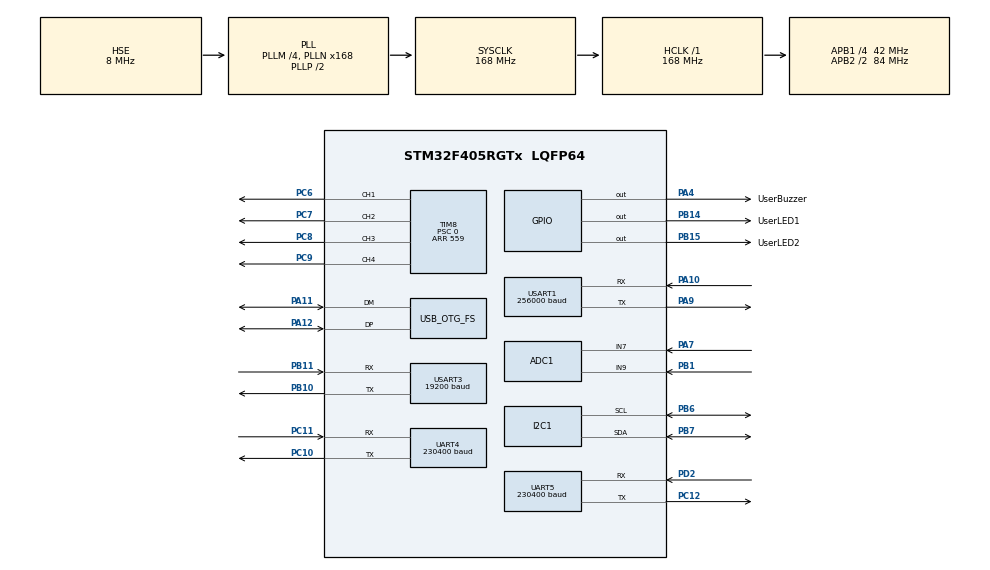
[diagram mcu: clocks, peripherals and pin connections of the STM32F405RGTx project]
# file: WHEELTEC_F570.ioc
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ADC1.Channel-0\#ChannelRegularConversion=ADC_CHANNEL_7
ADC1.Channel-1\#ChannelRegularConversion=ADC_CHANNEL_9
ADC1.ClockPrescaler=ADC_CLOCK_SYNC_PCLK_DIV6
ADC1.ContinuousConvMode=ENABLE
ADC1.DMAContinuousRequests=ENABLE
ADC1.NbrOfConversion=2
ADC1.NbrOfConversionFlag=1
ADC1.Rank-0\#ChannelRegularConversion=1
ADC1.Rank-1\#ChannelRegularConversion=2
ADC1.SamplingTime-0\#ChannelRegularConversion=ADC_SAMPLETIME_480CYCLES
ADC1.SamplingTime-1\#ChannelRegularConversion=ADC_SAMPLETIME_480CYCLES
ADC1.ScanConvMode=ENABLE
ADC1.master=1
Dma.ADC1.4.Direction=DMA_PERIPH_TO_MEMORY
Dma.ADC1.4.FIFOMode=DMA_FIFOMODE_DISABLE
Dma.ADC1.4.Instance=DMA2_Stream0
Dma.ADC1.4.MemDataAlignment=DMA_MDATAALIGN_HALFWORD
Dma.ADC1.4.MemInc=DMA_MINC_ENABLE
Dma.ADC1.4.Mode=DMA_CIRCULAR
Dma.ADC1.4.PeriphDataAlignment=DMA_PDATAALIGN_HALFWORD
Dma.ADC1.4.PeriphInc=DMA_PINC_DISABLE
Dma.ADC1.4.Priority=DMA_PRIORITY_LOW
Dma.Request0=TIM8_CH1
Dma.Request1=TIM8_CH2
Dma.Request2=TIM8_CH3
Dma.Request3=TIM8_CH4/TRIG/COM
Dma.Request4=ADC1
Dma.Request5=UART5_RX
Dma.Request6=UART4_TX
Dma.Request7=USART3_RX
Dma.TIM8_CH1.0.Direction=DMA_MEMORY_TO_PERIPH
Dma.TIM8_CH1.0.FIFOMode=DMA_FIFOMODE_DISABLE
Dma.TIM8_CH1.0.Instance=DMA2_Stream2
Dma.TIM8_CH1.0.MemDataAlignment=DMA_MDATAALIGN_HALFWORD
Dma.TIM8_CH1.0.MemInc=DMA_MINC_ENABLE
Dma.TIM8_CH1.0.Mode=DMA_NORMAL
Dma.TIM8_CH1.0.PeriphDataAlignment=DMA_PDATAALIGN_HALFWORD
Dma.TIM8_CH1.0.PeriphInc=DMA_PINC_DISABLE
Dma.TIM8_CH1.0.Priority=DMA_PRIORITY_LOW
Dma.TIM8_CH2.1.Direction=DMA_MEMORY_TO_PERIPH
Dma.TIM8_CH2.1.FIFOMode=DMA_FIFOMODE_DISABLE
Dma.TIM8_CH2.1.Instance=DMA2_Stream3
Dma.TIM8_CH2.1.MemDataAlignment=DMA_MDATAALIGN_HALFWORD
Dma.TIM8_CH2.1.MemInc=DMA_MINC_ENABLE
Dma.TIM8_CH2.1.Mode=DMA_NORMAL
Dma.TIM8_CH2.1.PeriphDataAlignment=DMA_PDATAALIGN_HALFWORD
Dma.TIM8_CH2.1.PeriphInc=DMA_PINC_DISABLE
Dma.TIM8_CH2.1.Priority=DMA_PRIORITY_LOW
Dma.TIM8_CH3.2.Direction=DMA_MEMORY_TO_PERIPH
Dma.TIM8_CH3.2.FIFOMode=DMA_FIFOMODE_DISABLE
Dma.TIM8_CH3.2.Instance=DMA2_Stream4
Dma.TIM8_CH3.2.MemDataAlignment=DMA_MDATAALIGN_HALFWORD
Dma.TIM8_CH3.2.MemInc=DMA_MINC_ENABLE
Dma.TIM8_CH3.2.Mode=DMA_NORMAL
Dma.TIM8_CH3.2.PeriphDataAlignment=DMA_PDATAALIGN_HALFWORD
Dma.TIM8_CH3.2.PeriphInc=DMA_PINC_DISABLE
Dma.TIM8_CH3.2.Priority=DMA_PRIORITY_LOW
Dma.TIM8_CH4/TRIG/COM.3.Direction=DMA_MEMORY_TO_PERIPH
Dma.TIM8_CH4/TRIG/COM.3.FIFOMode=DMA_FIFOMODE_DISABLE
Dma.TIM8_CH4/TRIG/COM.3.Instance=DMA2_Stream7
Dma.TIM8_CH4/TRIG/COM.3.MemDataAlignment=DMA_MDATAALIGN_HALFWORD
Dma.TIM8_CH4/TRIG/COM.3.MemInc=DMA_MINC_ENABLE
Dma.TIM8_CH4/TRIG/COM.3.Mode=DMA_NORMAL
Dma.TIM8_CH4/TRIG/COM.3.PeriphDataAlignment=DMA_PDATAALIGN_HALFWORD
Dma.TIM8_CH4/TRIG/COM.3.PeriphInc=DMA_PINC_DISABLE
Dma.TIM8_CH4/TRIG/COM.3.Priority=DMA_PRIORITY_LOW
Dma.UART4_TX.6.Direction=DMA_MEMORY_TO_PERIPH
Dma.UART4_TX.6.FIFOMode=DMA_FIFOMODE_DISABLE
Dma.UART4_TX.6.Instance=DMA1_Stream4
Dma.UART4_TX.6.MemDataAlignment=DMA_MDATAALIGN_BYTE
Dma.UART4_TX.6.MemInc=DMA_MINC_ENABLE
Dma.UART4_TX.6.Mode=DMA_NORMAL
Dma.UART4_TX.6.PeriphDataAlignment=DMA_PDATAALIGN_BYTE
Dma.UART4_TX.6.PeriphInc=DMA_PINC_DISABLE
Dma.UART4_TX.6.Priority=DMA_PRIORITY_LOW
Dma.UART5_RX.5.Direction=DMA_PERIPH_TO_MEMORY
Dma.UART5_RX.5.FIFOMode=DMA_FIFOMODE_DISABLE
Dma.UART5_RX.5.Instance=DMA1_Stream0
Dma.UART5_RX.5.MemDataAlignment=DMA_MDATAALIGN_BYTE
Dma.UART5_RX.5.MemInc=DMA_MINC_ENABLE
Dma.UART5_RX.5.Mode=DMA_NORMAL
Dma.UART5_RX.5.PeriphDataAlignment=DMA_PDATAALIGN_BYTE
Dma.UART5_RX.5.PeriphInc=DMA_PINC_DISABLE
Dma.UART5_RX.5.Priority=DMA_PRIORITY_LOW
Dma.USART3_RX.7.Direction=DMA_PERIPH_TO_MEMORY
Dma.USART3_RX.7.FIFOMode=DMA_FIFOMODE_DISABLE
Dma.USART3_RX.7.Instance=DMA1_Stream1
Dma.USART3_RX.7.MemDataAlignment=DMA_MDATAALIGN_BYTE
Dma.USART3_RX.7.MemInc=DMA_MINC_ENABLE
Dma.USART3_RX.7.Mode=DMA_NORMAL
Dma.USART3_RX.7.PeriphDataAlignment=DMA_PDATAALIGN_BYTE
Dma.USART3_RX.7.PeriphInc=DMA_PINC_DISABLE
Dma.USART3_RX.7.Priority=DMA_PRIORITY_LOW
FREERTOS.Tasks01=defaultTask,32,128,StartDefaultTask,Default,NULL,Dynamic,NULL,NULL
FREERTOS.configCHECK_FOR_STACK_OVERFLOW=2
FREERTOS.configENABLE_FPU=1
FREERTOS.configGENERATE_RUN_TIME_STATS=1
FREERTOS.configTOTAL_HEAP_SIZE=51200
FREERTOS.configUSE_IDLE_HOOK=1
FREERTOS.configUSE_MALLOC_FAILED_HOOK=1
FREERTOS.configUSE_STATS_FORMATTING_FUNCTIONS=1
I2C1.I2C_Mode=I2C_Fast
Mcu.Family=STM32F4
Mcu.Name=STM32F405RGTx
Mcu.Package=LQFP64
NVIC.DMA1_Stream0_IRQn=true\:5\:0\:false\:false\:true\:true\:false\:true\:true
NVIC.DMA1_Stream1_IRQn=true\:5\:0\:false\:false\:true\:true\:false\:true\:true
NVIC.DMA1_Stream4_IRQn=true\:5\:0\:false\:false\:true\:true\:false\:true\:true
NVIC.DMA2_Stream0_IRQn=true\:5\:0\:false\:false\:true\:true\:false\:true\:true
NVIC.DMA2_Stream2_IRQn=true\:5\:0\:false\:false\:true\:true\:false\:true\:true
NVIC.DMA2_Stream3_IRQn=true\:5\:0\:false\:false\:true\:true\:false\:true\:true
NVIC.DMA2_Stream4_IRQn=true\:5\:0\:false\:false\:true\:true\:false\:true\:true
NVIC.DMA2_Stream7_IRQn=true\:5\:0\:false\:false\:true\:true\:false\:true\:true
NVIC.OTG_FS_IRQn=true\:5\:0\:false\:false\:true\:true\:false\:true\:true
NVIC.PriorityGroup=NVIC_PRIORITYGROUP_4
NVIC.TIM7_IRQn=true\:15\:0\:true\:false\:true\:false\:false\:true\:true
NVIC.TimeBase=TIM7_IRQn
NVIC.TimeBaseIP=TIM7
NVIC.UART4_IRQn=true\:5\:0\:false\:false\:true\:true\:true\:true\:true
NVIC.UART5_IRQn=true\:5\:0\:false\:false\:true\:true\:true\:true\:true
NVIC.USART1_IRQn=true\:5\:0\:false\:false\:true\:true\:true\:true\:true
NVIC.USART3_IRQn=true\:5\:0\:false\:false\:true\:true\:true\:true\:true
PA10.Mode=Asynchronous
PA10.Signal=USART1_RX
PA11.Mode=Host_Only
PA11.Signal=USB_OTG_FS_DM
PA12.Mode=Host_Only
PA12.Signal=USB_OTG_FS_DP
PA13.Mode=Serial_Wire
PA13.Signal=SYS_JTMS-SWDIO
PA14.Mode=Serial_Wire
PA14.Signal=SYS_JTCK-SWCLK
PA4.GPIO_Label=UserBuzzer
PA4.PinState=GPIO_PIN_RESET
PA4.Signal=GPIO_Output
PA7.Signal=ADCx_IN7
PA9.Mode=Asynchronous
PA9.Signal=USART1_TX
PB1.Signal=ADCx_IN9
PB10.Mode=Asynchronous
PB10.Signal=USART3_TX
PB11.Mode=Asynchronous
PB11.Signal=USART3_RX
PB14.GPIO_Label=UserLED1
PB14.PinState=GPIO_PIN_SET
PB14.Signal=GPIO_Output
PB15.GPIO_Label=UserLED2
PB15.PinState=GPIO_PIN_SET
PB15.Signal=GPIO_Output
PB6.Mode=I2C
PB6.Signal=I2C1_SCL
PB7.Mode=I2C
PB7.Signal=I2C1_SDA
PC10.Mode=Asynchronous
PC10.Signal=UART4_TX
PC11.Mode=Asynchronous
PC11.Signal=UART4_RX
PC12.Mode=Asynchronous
PC12.Signal=UART5_TX
PC6.Signal=S_TIM8_CH1
PC7.Signal=S_TIM8_CH2
PC8.Signal=S_TIM8_CH3
PC9.Signal=S_TIM8_CH4
PD2.Mode=Asynchronous
PD2.Signal=UART5_RX
PH0-OSC_IN.Mode=HSE-External-Oscillator
PH0-OSC_IN.Signal=RCC_OSC_IN
PH1-OSC_OUT.Mode=HSE-External-Oscillator
PH1-OSC_OUT.Signal=RCC_OSC_OUT
ProjectManager.HeapSize=0x200
ProjectManager.StackSize=0x400
ProjectManager.TargetToolchain=MDK-ARM V5.32
RCC.48MHZClocksFreq_Value=48000000
RCC.AHBFreq_Value=168000000
RCC.APB1CLKDivider=RCC_HCLK_DIV4
RCC.APB1Freq_Value=42000000
RCC.APB1TimFreq_Value=84000000
RCC.APB2CLKDivider=RCC_HCLK_DIV2
RCC.APB2Freq_Value=84000000
RCC.APB2TimFreq_Value=168000000
RCC.CortexFreq_Value=168000000
RCC.HCLKFreq_Value=168000000
RCC.HSE_VALUE=8000000
RCC.HSI_VALUE=16000000
RCC.LSE_VALUE=32768
RCC.PLLM=4
RCC.PLLN=168
RCC.PLLQ=7
RCC.SYSCLKFreq_VALUE=168000000
RCC.SYSCLKSource=RCC_SYSCLKSOURCE_PLLCLK
RCC.VCOOutputFreq_Value=336000000
SH.ADCx_IN7.0=ADC1_IN7,IN7
SH.ADCx_IN9.0=ADC1_IN9,IN9
SH.S_TIM8_CH1.0=TIM8_CH1,PWM Generation1 CH1
SH.S_TIM8_CH2.0=TIM8_CH2,PWM Generation2 CH2
SH.S_TIM8_CH3.0=TIM8_CH3,PWM Generation3 CH3
SH.S_TIM8_CH4.0=TIM8_CH4,PWM Generation4 CH4
TIM6.Prescaler=839
TIM8.Channel-PWM\ Generation1\ CH1=TIM_CHANNEL_1
TIM8.Channel-PWM\ Generation2\ CH2=TIM_CHANNEL_2
TIM8.Channel-PWM\ Generation3\ CH3=TIM_CHANNEL_3
TIM8.Channel-PWM\ Generation4\ CH4=TIM_CHANNEL_4
TIM8.Period=559
TIM8.Prescaler=0
UART4.BaudRate=230400
UART4.VirtualMode=Asynchronous
UART5.BaudRate=230400
UART5.VirtualMode=Asynchronous
USART1.BaudRate=256000
USART1.VirtualMode=VM_ASYNC
USART3.BaudRate=19200
USART3.VirtualMode=VM_ASYNC
USB_HOST.SW_VBUS_DRIVE_HID_FS=true
USB_HOST.USBH_DEBUG_LEVEL-HID_FS=0
USB_HOST.USBH_HandleTypeDef-HID_FS=hUsbHostFS
USB_HOST.USBH_MAX_DATA_BUFFER-HID_FS=1024
USB_HOST.USBH_MAX_NUM_SUPPORTED_CLASS-HID_FS=2
USB_HOST.USBH_PROCESS_STACK_SIZE-HID_FS=1024
USB_HOST.VirtualModeFS=Hid
USB_OTG_FS.VirtualMode=Host_Only
USB_OTG_FS.phy_itface=HCD_PHY_EMBEDDED
VP_FREERTOS_VS_CMSIS_V2.Mode=CMSIS_V2
VP_SYS_VS_tim7.Mode=TIM7
VP_TIM6_VS_ClockSourceINT.Mode=Enable_Timer
VP_TIM8_VS_ClockSourceINT.Mode=Internal
VP_USB_HOST_VS_USB_HOST_HID_FS.Mode=HID_FS
board=custom

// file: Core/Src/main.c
/* USER CODE BEGIN Header */
/**
  ******************************************************************************
  * @file           : main.c
  * @brief          : Main program body
  ******************************************************************************
  * @attention
  *
  * Copyright (c) 2025 STMicroelectronics.
  * All rights reserved.
  *
  * This software is licensed under terms that can be found in the LICENSE file
  * in the root directory of this software component.
  * If no LICENSE file comes with this software, it is provided AS-IS.
  *
  ******************************************************************************
  */
/* USER CODE END Header */
#include "main.h"
#include "cmsis_os.h"
#include "adc.h"
#include "dma.h"
#include "i2c.h"
#include "tim.h"
#include "usart.h"
#include "usb_host.h"
#include "gpio.h"

/* USER CODE BEGIN Includes */
#include <stdio.h>

#include "bsp_imu.h"
#include "bsp_adc.h"
#include "bsp_LC307.h"
/* USER CODE END Includes */

/* USER CODE BEGIN PTD */
uint8_t uart4_recv;
uint8_t uart1_recv;

/* USER CODE END PTD */

void SystemClock_Config(void);
void MX_FREERTOS_Init(void);

int main(void)
{

  /* MCU Configuration--------------------------------------------------------*/

  /* Reset of all peripherals, Initializes the Flash interface and the Systick. */
  HAL_Init();

  /* Configure the system clock */
  SystemClock_Config();

  /* Initialize all configured peripherals */
  MX_GPIO_Init();
  MX_DMA_Init();
  MX_USART1_UART_Init();
  MX_UART4_Init();
  MX_USART3_UART_Init();
  MX_UART5_Init();
  MX_TIM6_Init();
  MX_TIM8_Init();
  MX_ADC1_Init();
  MX_I2C1_Init();
  /* USER CODE BEGIN 2 */

	//����1��TypeC���Խӿڣ�������4(�������Խӿ�)
	HAL_UART_Receive_IT(&huart1,&uart1_recv,1);
	HAL_UART_Receive_IT(&huart4,&uart4_recv,1);

	//验证iic与icm20948是否成功建立通讯
//	uint8_t iic_recv=0xff;
//	HAL_I2C_Mem_Read(&hi2c1,0x68<<1,0x00,I2C_MEMADD_SIZE_8BIT,&iic_recv,1,500);
//	printf("0x%2X\r\n",iic_recv);

	//使用硬件IIC时需要
	//检查硬件IIC是否出现BUSY异常
	if( (I2C1->SR2>>1)&0x01 )
	{
		HAL_I2C_MspDeInit(&hi2c1);

		//将IIC总线强制释放
		GPIO_InitTypeDef GPIO_InitStruct = {0};
		GPIO_InitStruct.Pin = GPIO_PIN_6|GPIO_PIN_7;
		GPIO_InitStruct.Mode = GPIO_MODE_OUTPUT_PP;
		GPIO_InitStruct.Pull = GPIO_PULLUP;
		GPIO_InitStruct.Speed = GPIO_SPEED_FREQ_LOW;
		HAL_GPIO_Init(GPIOB, &GPIO_InitStruct);
		HAL_GPIO_WritePin(GPIOB,GPIO_PIN_6,GPIO_PIN_SET);
		HAL_GPIO_WritePin(GPIOB,GPIO_PIN_7,GPIO_PIN_SET);

		//重新初始化IIC
		I2C1->CR1 &= ~(1<<0);//禁止IIC外设
		HAL_Delay(50);
		I2C1->CR1 |= (1<<0);//重新使能
		I2C1->CR1 |= (1<<15);//进行软件复位
		HAL_Delay(50);
		I2C1->CR1 &= ~(1<<15);
		MX_I2C1_Init();
	}

	//初始化icm20948
	pIMUInterface_t imu = &UserICM20948;

	//完成初始化
  while( imu->Init() )
  {
	  HAL_Delay(60);
		HAL_GPIO_TogglePin(UserLED1_GPIO_Port,UserLED1_Pin);
	  NVIC_SystemReset();
  }

	//电流与电压采集初始化
	pADCInterface_t adc = &UserADC1;
	adc->init();

	//初始化光流传感器
	Opf_LC307_Init();

  /* USER CODE END 2 */

  /* Init scheduler */
  osKernelInitialize();

  /* Call init function for freertos objects (in cmsis_os2.c) */
  MX_FREERTOS_Init();

  /* Start scheduler */
  osKernelStart();

  /* We should never get here as control is now taken by the scheduler */

  /* Infinite loop */
  while (1)
  {

  }
}

void SystemClock_Config(void)
{
  RCC_OscInitTypeDef RCC_OscInitStruct = {0};
  RCC_ClkInitTypeDef RCC_ClkInitStruct = {0};

  /** Configure the main internal regulator output voltage
  */
  __HAL_RCC_PWR_CLK_ENABLE();
  __HAL_PWR_VOLTAGESCALING_CONFIG(PWR_REGULATOR_VOLTAGE_SCALE1);

  /** Initializes the RCC Oscillators according to the specified parameters
  * in the RCC_OscInitTypeDef structure.
  */
  RCC_OscInitStruct.OscillatorType = RCC_OSCILLATORTYPE_HSE;
  RCC_OscInitStruct.HSEState = RCC_HSE_ON;
  RCC_OscInitStruct.PLL.PLLState = RCC_PLL_ON;
  RCC_OscInitStruct.PLL.PLLSource = RCC_PLLSOURCE_HSE;
  RCC_OscInitStruct.PLL.PLLM = 4;
  RCC_OscInitStruct.PLL.PLLN = 168;
  RCC_OscInitStruct.PLL.PLLP = RCC_PLLP_DIV2;
  RCC_OscInitStruct.PLL.PLLQ = 7;
  if (HAL_RCC_OscConfig(&RCC_OscInitStruct) != HAL_OK)
  {
    Error_Handler();
  }

  /** Initializes the CPU, AHB and APB buses clocks
  */
  RCC_ClkInitStruct.ClockType = RCC_CLOCKTYPE_HCLK|RCC_CLOCKTYPE_SYSCLK
                              |RCC_CLOCKTYPE_PCLK1|RCC_CLOCKTYPE_PCLK2;
  RCC_ClkInitStruct.SYSCLKSource = RCC_SYSCLKSOURCE_PLLCLK;
  RCC_ClkInitStruct.AHBCLKDivider = RCC_SYSCLK_DIV1;
  RCC_ClkInitStruct.APB1CLKDivider = RCC_HCLK_DIV4;
  RCC_ClkInitStruct.APB2CLKDivider = RCC_HCLK_DIV2;

  if (HAL_RCC_ClockConfig(&RCC_ClkInitStruct, FLASH_LATENCY_5) != HAL_OK)
  {
    Error_Handler();
  }
}

/* USER CODE BEGIN 4 */

UART_HandleTypeDef *DebugSerial = &huart1;

//printf����ʵ��
int fputc(int ch,FILE* stream)
{
	while( HAL_OK != HAL_UART_Transmit(DebugSerial,(const uint8_t *)&ch,1,100));
	return ch;
}

/* USER CODE END 4 */

void HAL_TIM_PeriodElapsedCallback(TIM_HandleTypeDef *htim)
{
  if (htim->Instance == TIM7)
  {
    HAL_IncTick();
  }
}

void Error_Handler(void)
{
  __disable_irq();
  while (1)
  {
  }
}

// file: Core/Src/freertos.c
/* USER CODE BEGIN Header */
/**
  ******************************************************************************
  * File Name          : freertos.c
  * Description        : Code for freertos applications
  ******************************************************************************
  * @attention
  *
  * Copyright (c) 2025 STMicroelectronics.
  * All rights reserved.
  *
  * This software is licensed under terms that can be found in the LICENSE file
  * in the root directory of this software component.
  * If no LICENSE file comes with this software, it is provided AS-IS.
  *
  ******************************************************************************
  */
/* USER CODE END Header */

#include "FreeRTOS.h"
#include "task.h"
#include "main.h"
#include "cmsis_os.h"

/* USER CODE BEGIN Includes */

//C Lib Include File
#include <stdio.h>

//FreeRTOS Include File
#include "queue.h"
#include "timers.h"

//HAL Include File
#include "tim.h"
#include "usart.h"

//BSP Include File
#include "bsp_stp23L.h"
#include "bsp_buzzer.h"
#include "bsp_LC307.h"
/* USER CODE END Includes */

/* USER CODE BEGIN PD */
#define userconfig_RTOS_DEBUG 0 //是否开启调试任务
/* USER CODE END PD */

/* USER CODE BEGIN Variables */

//定义STP23L模块的队列
QueueHandle_t g_xQueuestp23L_Ori=NULL;//存放STP23L原始数据

//定义LC307光流模块的队列
QueueHandle_t g_xQueueLC307_Ori=NULL;

//定义蓝牙数据传输的队列
QueueHandle_t g_xQueueBlueTooth = NULL;

//定义定时器
//操作成功定时器
TimerHandle_t Timer_SuccessTips;

//操作失败定时器
TimerHandle_t Timer_FailTips;

/* USER CODE END Variables */
/* Definitions for defaultTask */
osThreadId_t defaultTaskHandle;
const osThreadAttr_t defaultTask_attributes = {
  .name = "defaultTask",
  .stack_size = 128 * 4,
  .priority = (osPriority_t) osPriorityAboveNormal,
};

/* USER CODE BEGIN FunctionPrototypes */

#if ( 1 == userconfig_RTOS_DEBUG )
void RTOSDebugTask(void *param);
#endif

void Balance_Task(void *param);
void Show_Task(void *param);
void STP23L_Task(void *param);
void BlueTooth_Task(void *param);
void PS2_Task(void *param);
void LC307_Task(void *param);

//定时器回调函数
void Timer_SuccessCallback(TimerHandle_t xTimer);
void Timer_FailCallback(TimerHandle_t xTimer);

/* USER CODE END FunctionPrototypes */

void StartDefaultTask(void *argument);

extern void MX_USB_HOST_Init(void);
void MX_FREERTOS_Init(void); /* (MISRA C 2004 rule 8.1) */

/* Hook prototypes */
void configureTimerForRunTimeStats(void);
unsigned long getRunTimeCounterValue(void);
void vApplicationIdleHook(void);
void vApplicationStackOverflowHook(xTaskHandle xTask, signed char *pcTaskName);
void vApplicationMallocFailedHook(void);

/* USER CODE BEGIN 1 */
/* Functions needed when configGENERATE_RUN_TIME_STATS is on */
__weak void configureTimerForRunTimeStats(void)
{
	HAL_TIM_Base_Start(&htim6);
}

__weak unsigned long getRunTimeCounterValue(void)
{
	static unsigned long time = 0 ;
	static uint16_t lasttime = 0;
	static uint16_t nowtime = 0;

	nowtime = TIM6->CNT; //获得当前计数值

	//如果本次计数值小于上次计数值，说明发生了定时器计数溢出
	if( nowtime < lasttime )
	{
		time += (nowtime + 0xffff - lasttime); //溢出后的时间增量
	}
	else time += ( nowtime - lasttime ) ; //未发生溢出，增量为本次时间-上次时间

	lasttime = nowtime;

	return time;
}
/* USER CODE END 1 */

/* USER CODE BEGIN 2 */
void vApplicationIdleHook( void )
{
   /* vApplicationIdleHook() will only be called if configUSE_IDLE_HOOK is set
   to 1 in FreeRTOSConfig.h. It will be called on each iteration of the idle
   task. It is essential that code added to this hook function never attempts
   to block in any way (for example, call xQueueReceive() with a block time
   specified, or call vTaskDelay()). If the application makes use of the
   vTaskDelete() API function (as this demo application does) then it is also
   important that vApplicationIdleHook() is permitted to return to its calling
   function, because it is the responsibility of the idle task to clean up
   memory allocated by the kernel to any task that has since been deleted. */

	//空闲任务回调函数
}
/* USER CODE END 2 */

/* USER CODE BEGIN 4 */
void vApplicationStackOverflowHook(xTaskHandle xTask, signed char *pcTaskName)
{
   /* Run time stack overflow checking is performed if
   configCHECK_FOR_STACK_OVERFLOW is defined to 1 or 2. This hook function is
   called if a stack overflow is detected. */

	//任务栈溢出
	printf("%s stack overflow\r\n",pcTaskName);
}
/* USER CODE END 4 */

/* USER CODE BEGIN 5 */
void vApplicationMallocFailedHook(void)
{
   /* vApplicationMallocFailedHook() will only be called if
   configUSE_MALLOC_FAILED_HOOK is set to 1 in FreeRTOSConfig.h. It is a hook
   function that will get called if a call to pvPortMalloc() fails.
   pvPortMalloc() is called internally by the kernel whenever a task, queue,
   timer or semaphore is created. It is also called by various parts of the
   demo application. If heap_1.c or heap_2.c are used, then the size of the
   heap available to pvPortMalloc() is defined by configTOTAL_HEAP_SIZE in
   FreeRTOSConfig.h, and the xPortGetFreeHeapSize() API function can be used
   to query the size of free heap space that remains (although it does not
   provide information on how the remaining heap might be fragmented). */
	printf("Malloc Faile,check total heap size config\r\n");
}
/* USER CODE END 5 */

void MX_FREERTOS_Init(void) {

  /* USER CODE BEGIN RTOS_TIMERS */
  /* start timers, add new ones, ... */
	Timer_SuccessTips = xTimerCreate("SucceessTimer",pdMS_TO_TICKS(1),pdFALSE,NULL,Timer_SuccessCallback);
	Timer_FailTips = xTimerCreate("Failtimer",pdMS_TO_TICKS(1),pdFALSE,NULL,Timer_FailCallback);
  /* USER CODE END RTOS_TIMERS */

  /* USER CODE BEGIN RTOS_QUEUES */
  /* add queues, ... */

	//创建STP23L激光测距模块队列
	g_xQueuestp23L_Ori = xQueueCreate(3,sizeof(OriData_STP23L_t));

	//创建光流传感器队列
	g_xQueueLC307_Ori = xQueueCreate(3,sizeof(OriData_LC307_t));

	//创建蓝牙数据队列
	g_xQueueBlueTooth = xQueueCreate(50,sizeof(char));

  /* USER CODE END RTOS_QUEUES */

  /* Create the thread(s) */
  /* creation of defaultTask */
  defaultTaskHandle = osThreadNew(StartDefaultTask, NULL, &defaultTask_attributes);

  /* USER CODE BEGIN RTOS_THREADS */
  /* add threads, ... */

	//平衡控制任务
	xTaskCreate(Balance_Task,"balance",128*4,NULL,osPriorityNormal,NULL);

	//调试输出任务
	xTaskCreate(Show_Task,"showtask",128*4,NULL,osPriorityBelowNormal7,NULL);

	//创建STP23L数据处理任务
	xTaskCreate(STP23L_Task,"STP23L_Task",128*2,NULL,osPriorityNormal,NULL);

	//创建光流传感器数据解析任务
	xTaskCreate(LC307_Task,"LC307_Task",128*2,NULL,osPriorityNormal,NULL);

	//创建蓝牙数据调参任务
	xTaskCreate(BlueTooth_Task,"BT_Task",128*2,NULL,osPriorityNormal,NULL);

	//创建USB手柄控制任务
	xTaskCreate(PS2_Task,"PS2_Task",128*2,NULL,osPriorityNormal,NULL);

	//创建FreeRTOS调试任务
	#if ( 1 == userconfig_RTOS_DEBUG )
	 static uint16_t delaytime = 5000;//打印时间间隔，单位tick
	 xTaskCreate(RTOSDebugTask,"DebugTask",128, &delaytime ,osPriorityAboveNormal,NULL);
	#endif

  /* USER CODE END RTOS_THREADS */

}

void StartDefaultTask(void *argument)
{
  /* init code for USB_HOST */
  MX_USB_HOST_Init();
  /* USER CODE BEGIN StartDefaultTask */
  /* Infinite loop */

	//启动STP23L激光测距模块的DMA搬运
	HAL_UARTEx_ReceiveToIdle_DMA(&huart5,DMABuf_oridata_stp23L.Buf,userconfig_STP23L_DMABUF_LEN);

	//启动光流传感器的DMA搬运
	HAL_UARTEx_ReceiveToIdle_DMA(&huart3,DMABuf_oridata_LC307.buffer,userconfig_LC307_DMABUF_LEN);
  for(;;)
  {
    HAL_GPIO_TogglePin(UserLED1_GPIO_Port,UserLED1_Pin);
		HAL_GPIO_TogglePin(UserLED2_GPIO_Port,UserLED2_Pin);
		//HAL_Delay(200);
		vTaskDelay( pdMS_TO_TICKS(500) );
  }
  /* USER CODE END StartDefaultTask */
}

/* USER CODE BEGIN Application */
#if ( 1 == userconfig_RTOS_DEBUG )
void RTOSDebugTask(void *param)
{
	uint16_t* delaytime = (uint16_t*)param;
	static char showbuf[500];

	while( 1 )
	{
		//打印CPU占比
		vTaskGetRunTimeStats(showbuf);
		printf("TaskName\tUseTime\tCPU\r\n");
		printf("%s\r\n",showbuf);
		vTaskDelay(*delaytime);

		//打印剩余任务栈大小,单位word
		vTaskList(showbuf);
		printf("TaskName\tTaskState\tTaskPrio\tStackSize\tTaskNum\r\n");
		printf("%s\r\n",showbuf);
		vTaskDelay(*delaytime);

		//打印剩余的堆区大小,单位bytes
		printf("free heap size : %d bytes\r\n\r\n",xPortGetFreeHeapSize());
		vTaskDelay(*delaytime);
	}
}
#endif

void Timer_SuccessCallback(TimerHandle_t xTimer)
{
	pBuzzeInterface_t tips = &UserBuzzer;
	tips->on();
	vTaskDelay(50);
	tips->off();
}

void Timer_FailCallback(TimerHandle_t xTimer)
{
	pBuzzeInterface_t tips = &UserBuzzer;
	for(uint8_t i=0;i<3;i++)
	{
		tips->on();
		vTaskDelay(50);
		tips->off();
		vTaskDelay(50);
	}
}

/* USER CODE END Application */
